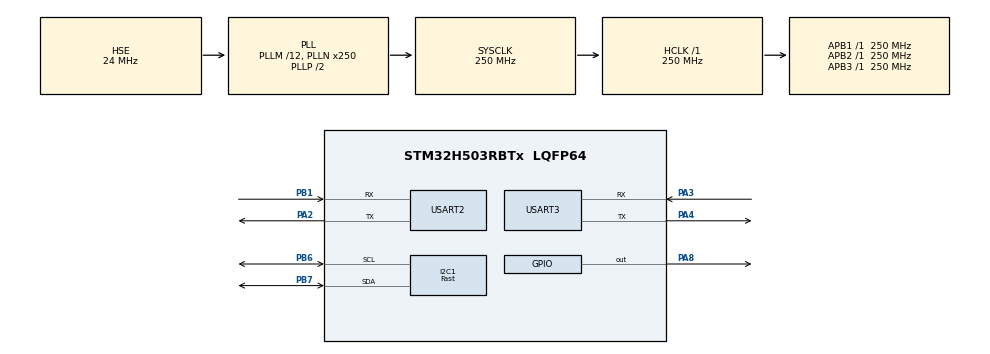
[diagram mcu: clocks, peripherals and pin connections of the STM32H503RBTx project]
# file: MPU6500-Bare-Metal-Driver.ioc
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BOOTPATH.BootPathName=LEGACY
BOOTPATH.UserSelectedBootPath=LEGACY
GPDMA1.DESTINC_GPDMACH1=DMA_DINC_INCREMENTED
GPDMA1.DIRECTION_GPDMACH0=DMA_MEMORY_TO_PERIPH
GPDMA1.IPHANDLE_GPDMACH0-SIMPLEREQUEST_GPDMACH0=__NULL
GPDMA1.IPHANDLE_GPDMACH1-SIMPLEREQUEST_GPDMACH1=__NULL
GPDMA1.REQUEST_GPDMACH0=GPDMA1_REQUEST_I2C1_TX
GPDMA1.REQUEST_GPDMACH1=GPDMA1_REQUEST_I2C1_RX
GPDMA1.SRCINC_GPDMACH0=DMA_SINC_INCREMENTED
I2C1.I2C_Speed_Mode=I2C_Fast
I2C1.Timing=0x10C043E5
I2C1.I2C_Speed_Mode=I2C_Fast
I2C1.Timing=0x10C043E5
Mcu.Family=STM32H5
Mcu.Name=STM32H503RBTx
Mcu.Package=LQFP64
NUCLEO-H503RB.VCP=false
NVIC.GPDMA1_Channel0_IRQn=true\:0\:0\:false\:false\:true\:true\:true\:true
NVIC.GPDMA1_Channel1_IRQn=true\:0\:0\:false\:false\:true\:false\:true\:true
NVIC.I2C1_ER_IRQn=true\:0\:0\:false\:false\:true\:true\:true\:true
NVIC.I2C1_EV_IRQn=true\:0\:0\:false\:false\:true\:true\:true\:true
NVIC.I2C1_ER_IRQn=true\:0\:0\:false\:false\:true\:true\:true\:true
NVIC.I2C1_EV_IRQn=true\:0\:0\:false\:false\:true\:true\:true\:true
NVIC.PriorityGroup=NVIC_PRIORITYGROUP_4
PA13(JTMS/SWDIO).GPIO_Label=T_SWDIO
PA13(JTMS/SWDIO).Signal=DEBUG_JTMS-SWDIO
PA14(JTCK/SWCLK).GPIO_Label=T_SWCLK
PA14(JTCK/SWCLK).Signal=DEBUG_JTCK-SWCLK
PA15(JTDI).GPIO_Label=T_JTDI
PA15(JTDI).Signal=DEBUG_JTDI
PA2.Mode=Asynchronous
PA2.Signal=USART2_TX
PA2.Mode=Asynchronous
PA2.Signal=USART2_TX
PA3.Mode=Asynchronous
PA3.Signal=USART3_RX
PA4.Mode=Asynchronous
PA4.Signal=USART3_TX
PA8.Signal=GPIO_Output
PB1.Mode=Asynchronous
PB1.Signal=USART2_RX
PB1.Mode=Asynchronous
PB1.Signal=USART2_RX
PB14.GPIO_Label=ARD_D1_TX
PB14.Signal=USART1_TX
PB15.GPIO_Label=ARD_D0_RX
PB15.Signal=USART1_RX
PB3(JTDO/TRACESWO).GPIO_Label=T_SWO
PB3(JTDO/TRACESWO).Signal=DEBUG_JTDO-SWO
PB6.Mode=I2C
PB6.Signal=I2C1_SCL
PB7.Mode=I2C
PB7.Signal=I2C1_SDA
PH0-OSC_IN(PH0).Mode=HSE-External-Oscillator
PH0-OSC_IN(PH0).Signal=RCC_OSC_IN
PH1-OSC_OUT(PH1).Mode=HSE-External-Oscillator
PH1-OSC_OUT(PH1).Signal=RCC_OSC_OUT
ProjectManager.HeapSize=0x200
ProjectManager.StackSize=0x400
ProjectManager.TargetToolchain=CMake
RCC.ADCFreq_Value=250000000
RCC.AHBFreq_Value=250000000
RCC.APB1Freq_Value=250000000
RCC.APB1TimFreq_Value=250000000
RCC.APB2Freq_Value=250000000
RCC.APB2TimFreq_Value=250000000
RCC.APB3Freq_Value=250000000
RCC.CSI_VALUE=4000000
RCC.CortexFreq_Value=250000000
RCC.EPOD_VALUE=24000000
RCC.HCLKFreq_Value=250000000
RCC.HSE_VALUE=24000000
RCC.HSI48_VALUE=48000000
RCC.HSIDiv=RCC_HSI_DIV1
RCC.HSI_VALUE=64000000
RCC.LSE_VALUE=32768
RCC.LSIRC_VALUE=32000
RCC.PLLM=12
RCC.PLLN=250
RCC.PLLSourceVirtual=RCC_PLL1_SOURCE_HSE
RCC.SYSCLKFreq_VALUE=250000000
RCC.SYSCLKSource=RCC_SYSCLKSOURCE_PLLCLK
RCC.USBFreq_Value=48000000
RCC.VCOOutputFreq_Value=500000000
USART2.VirtualMode-Asynchronous=VM_ASYNC
USART2.VirtualMode-Asynchronous=VM_ASYNC
USART3.VirtualMode-Asynchronous=VM_ASYNC
VP_BOOTPATH_VS_BOOTPATH.Mode=BP_Activate
VP_CORTEX_M33_NS_VS_Hclk.Mode=Hclk_Mode
VP_GPDMA1_VS_GPDMACH0.Mode=SIMPLEREQUEST_GPDMACH0
VP_GPDMA1_VS_GPDMACH1.Mode=SIMPLEREQUEST_GPDMACH1
VP_MEMORYMAP_VS_MEMORYMAP.Mode=CurAppReg
VP_NUCLEO-H503RB_VS_BSP_COMMON.Mode=COMMON
VP_PWR_VS_LPOM.Mode=PowerOptimisation
VP_PWR_VS_SECSignals.Mode=Security/Privilege
board=NUCLEO-H503RB

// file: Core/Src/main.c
/* USER CODE BEGIN Header */
/**
 ******************************************************************************
 * @file           : main.c
 * @brief          : Main program body
 ******************************************************************************
 * @attention
 *
 * Copyright (c) 2026 STMicroelectronics.
 * All rights reserved.
 *
 * This software is licensed under terms that can be found in the LICENSE file
 * in the root directory of this software component.
 * If no LICENSE file comes with this software, it is provided AS-IS.
 *
 ******************************************************************************
 */
/* USER CODE END Header */
#include "main.h"

/* USER CODE BEGIN Includes */
#include "mpu6500.h"
#include "stm32h503xx.h"
#include "stm32h5xx_hal.h"
#include "stm32h5xx_hal_def.h"
#include "stm32h5xx_hal_i2c.h"
#include "stm32h5xx_hal_uart.h"
#include <stdint.h>
#include <stdio.h>
#include <string.h>
#include <sys/_intsup.h>

/* USER CODE END Includes */

/* USER CODE BEGIN PTD */
typedef enum { IDLE, READ_GYRO, READ_ACCEL, DATA_READY } MPU6500_State_t;

/* USER CODE END PTD */

DMA_HandleTypeDef handle_GPDMA1_Channel1;

I2C_HandleTypeDef hi2c1;
DMA_HandleTypeDef handle_GPDMA1_Channel1;
DMA_HandleTypeDef handle_GPDMA1_Channel0;

UART_HandleTypeDef huart2;
UART_HandleTypeDef huart3;

/* USER CODE BEGIN PV */
static volatile uint8_t I2C1_RX_FLAG;
static volatile uint8_t I2C1_TX_FLAG;

// uint32_t Matches Hal_I2C_GetError() size
static volatile uint32_t I2C1_ERROR_FLAG;

volatile MPU6500_State_t MPU6500_current_state = IDLE;

/* USER CODE END PV */

void SystemClock_Config(void);
static void MX_GPIO_Init(void);
static void MX_GPDMA1_Init(void);
static void MX_I2C1_Init(void);
static void MX_USART2_UART_Init(void);
static void MX_USART3_UART_Init(void);

/* USER CODE BEGIN 0 */

/* I2C DMA Callbacks ---------------------------------------------------------
 * Called by the HAL from the DMA/I2C interrupt handlers when a memory
 * read/write transfer completes or errors. These set flags that the
 * main-loop state machine polls to know when data is ready.
 */

/** @brief I2C RX complete — signals that DMA read data is in the buffer. */
void HAL_I2C_MemRxCpltCallback(I2C_HandleTypeDef *hi2c) {
  if (hi2c->Instance == I2C1) {
    I2C1_RX_FLAG = 1;
  }
}

/** @brief I2C TX complete — signals that DMA write has finished. */
void HAL_I2C_MemTxCpltCallback(I2C_HandleTypeDef *hi2c) {
  if (hi2c->Instance == I2C1) {
    I2C1_TX_FLAG = 1;
  }
}

/** @brief I2C error — stores error code, sets flags to unblock waiters, aborts. */
void HAL_I2C_ErrorCallback(I2C_HandleTypeDef *hi2c) {
  I2C1_ERROR_FLAG = HAL_I2C_GetError(hi2c);
  I2C1_RX_FLAG = 1;
  I2C1_TX_FLAG = 1;
  HAL_I2C_Master_Abort_IT(hi2c, MPU6500_I2C_ADDR);
}

/* Platform I2C wrappers (non-blocking DMA) ----------------------------------
 * These are passed to the MPU6500 driver via MPU6500_Config. They start a DMA
 * transfer and return immediately. The flag is cleared BEFORE starting DMA to
 * prevent a race where the ISR fires before the flag is reset.
 */

/** @brief Non-blocking I2C register write via DMA. */
int8_t stm32_write_DMA(uint16_t dev_addr, uint16_t reg_addr, uint8_t *p_data,
                       uint16_t len) {
  I2C1_TX_FLAG = 0;
  I2C1_ERROR_FLAG = 0;
  if (HAL_I2C_Mem_Write_DMA(&hi2c1, dev_addr, reg_addr, I2C_MEMADD_SIZE_8BIT,
                            p_data, len) == HAL_OK) {
    return 0;
  } else {
    HAL_I2C_ErrorCallback(&hi2c1);
    return -1;
  }
}

/** @brief Non-blocking I2C register read via DMA. */
int8_t stm32_read_DMA(uint16_t dev_addr, uint16_t reg_addr, uint8_t *p_data,
                      uint16_t len) {
  I2C1_RX_FLAG = 0;
  I2C1_ERROR_FLAG = 0;
  if (HAL_I2C_Mem_Read_DMA(&hi2c1, dev_addr, reg_addr, I2C_MEMADD_SIZE_8BIT,
                           p_data, len) == HAL_OK) {
    return 0;
  } else {
    HAL_I2C_ErrorCallback(&hi2c1);
    return -1;
  }
}

/* USER CODE END 0 */

int main(void) {

  /* MCU Configuration--------------------------------------------------------*/

  /* Reset of all peripherals, Initializes the Flash interface and the Systick.
   */
  HAL_Init();

  /* Configure the system clock */
  SystemClock_Config();

  /* Initialize all configured peripherals */
  MX_GPIO_Init();
  MX_GPDMA1_Init();
  MX_I2C1_Init();
  MX_USART2_UART_Init();
  MX_USART3_UART_Init();

  /* USER CODE BEGIN 2 */

  /* Wire the platform DMA layer to the MPU6500 driver */
  MPU6500_Config config = {
      .write = stm32_write_DMA,
      .read = stm32_read_DMA,
      .delay_ms = HAL_Delay,
  };

  MPU6500_Init(&config);

  MPU6500_Gyro_Data Gyro_Data = {0};
  MPU6500_Accel_Data Accel_Data = {0};

  /* Persistent DMA target buffers — must outlive each transfer */
  static uint8_t gyro_raw[6];
  static uint8_t accel_raw[6];

  char buffer[200];

  int8_t gyro_config[3] = {0, 0, 0};

  MPU6500_SetAccelRange(&config, MPU6500_ACC_SET_16G);
  MPU6500_SetRotationRange(&config, MPU6500_Gyro_SET_2000);

  MPU6500_Gyro_Calibration(&config, gyro_config);

  /* USER CODE END 2 */

  /* Infinite loop */
  /* USER CODE BEGIN WHILE */
  while (1) {

    /*
     * Non-blocking state machine for continuous sensor reads:
     *   IDLE       -> start gyro DMA read
     *   READ_GYRO  -> wait for DMA flag, process gyro, start accel DMA read
     *   READ_ACCEL -> wait for DMA flag, process accel
     *   DATA_READY -> transmit results over UART, return to IDLE
     *
     * The CPU is free between state transitions for other work.
     */
    switch (MPU6500_current_state) {
    case IDLE:
      if (MPU6500_Read_Gyro_DMA(&config, gyro_raw) == 0) {
        MPU6500_current_state = READ_GYRO;
      }
      /* else: DMA start failed, stay IDLE and retry next loop */
      break;

    case READ_GYRO:
      if (I2C1_RX_FLAG == 1) {
        I2C1_RX_FLAG = 0;
        if (I2C1_ERROR_FLAG != 0) {
          MPU6500_current_state = IDLE;
          break;
        }
        MPU6500_Process_Gyro_DMA(&config, gyro_raw, &Gyro_Data);
        if (MPU6500_Read_Accel_DMA(&config, accel_raw) == 0) {
          MPU6500_current_state = READ_ACCEL;
        } else {
          MPU6500_current_state = IDLE;
        }
      }
      break;

    case READ_ACCEL:
      if (I2C1_RX_FLAG == 1) {
        I2C1_RX_FLAG = 0;
        if (I2C1_ERROR_FLAG != 0) {
          MPU6500_current_state = IDLE;
          break;
        }
        MPU6500_Process_Accel_DMA(&config, accel_raw, &Accel_Data);
        MPU6500_current_state = DATA_READY;
      }
      break;

    case DATA_READY:
      /* Demo/test blocking UART TX for simplicity. The implementation is up to the User. This is just a example.
       * The driver's job ends here (data is in Gyro_Data / Accel_Data).
       * Production code would use HAL_UART_Transmit_IT/DMA instead. */
      sprintf(buffer,
              "Gyro: X |%-4i|, Y|%-4i|, Z|%-4i| --- |  Accel: X |%7.4f|, Y "
              "|%7.4f|, Z |%7.4f| \r\n",
              Gyro_Data.Gyro_X, Gyro_Data.Gyro_Y, Gyro_Data.Gyro_Z,
              Accel_Data.Accel_X, Accel_Data.Accel_Y, Accel_Data.Accel_Z);

      HAL_UART_Transmit(&huart3, (uint8_t *)buffer, strlen(buffer), 100);
      MPU6500_current_state = IDLE;
      break;

    default:
      return -1;
    }

    /* CPU is free here for other non-blocking work */

    /* USER CODE END WHILE */

  }
}

void SystemClock_Config(void) {
  RCC_OscInitTypeDef RCC_OscInitStruct = {0};
  RCC_ClkInitTypeDef RCC_ClkInitStruct = {0};

  /** Configure the main internal regulator output voltage
   */
  __HAL_PWR_VOLTAGESCALING_CONFIG(PWR_REGULATOR_VOLTAGE_SCALE0);

  while (!__HAL_PWR_GET_FLAG(PWR_FLAG_VOSRDY)) {
  }

  /** Initializes the RCC Oscillators according to the specified parameters
   * in the RCC_OscInitTypeDef structure.
   */
  RCC_OscInitStruct.OscillatorType = RCC_OSCILLATORTYPE_HSE;
  RCC_OscInitStruct.HSEState = RCC_HSE_ON;
  RCC_OscInitStruct.PLL.PLLState = RCC_PLL_ON;
  RCC_OscInitStruct.PLL.PLLSource = RCC_PLL1_SOURCE_HSE;
  RCC_OscInitStruct.PLL.PLLM = 12;
  RCC_OscInitStruct.PLL.PLLN = 250;
  RCC_OscInitStruct.PLL.PLLP = 2;
  RCC_OscInitStruct.PLL.PLLQ = 2;
  RCC_OscInitStruct.PLL.PLLR = 2;
  RCC_OscInitStruct.PLL.PLLRGE = RCC_PLL1_VCIRANGE_1;
  RCC_OscInitStruct.PLL.PLLVCOSEL = RCC_PLL1_VCORANGE_WIDE;
  RCC_OscInitStruct.PLL.PLLFRACN = 0;
  if (HAL_RCC_OscConfig(&RCC_OscInitStruct) != HAL_OK) {
    Error_Handler();
  }

  /** Initializes the CPU, AHB and APB buses clocks
   */
  RCC_ClkInitStruct.ClockType = RCC_CLOCKTYPE_HCLK | RCC_CLOCKTYPE_SYSCLK |
                                RCC_CLOCKTYPE_PCLK1 | RCC_CLOCKTYPE_PCLK2 |
                                RCC_CLOCKTYPE_PCLK3;
  RCC_ClkInitStruct.SYSCLKSource = RCC_SYSCLKSOURCE_PLLCLK;
  RCC_ClkInitStruct.AHBCLKDivider = RCC_SYSCLK_DIV1;
  RCC_ClkInitStruct.APB1CLKDivider = RCC_HCLK_DIV1;
  RCC_ClkInitStruct.APB2CLKDivider = RCC_HCLK_DIV1;
  RCC_ClkInitStruct.APB3CLKDivider = RCC_HCLK_DIV1;

  if (HAL_RCC_ClockConfig(&RCC_ClkInitStruct, FLASH_LATENCY_5) != HAL_OK) {
    Error_Handler();
  }

  /** Configure the programming delay
   */
  __HAL_FLASH_SET_PROGRAM_DELAY(FLASH_PROGRAMMING_DELAY_2);
}

static void MX_GPDMA1_Init(void) {

  /* Peripheral clock enable */
  __HAL_RCC_GPDMA1_CLK_ENABLE();

  /* GPDMA1 interrupt Init */
  HAL_NVIC_SetPriority(GPDMA1_Channel0_IRQn, 0, 0);
  HAL_NVIC_EnableIRQ(GPDMA1_Channel0_IRQn);
  HAL_NVIC_SetPriority(GPDMA1_Channel1_IRQn, 0, 0);
  HAL_NVIC_EnableIRQ(GPDMA1_Channel1_IRQn);

}

static void MX_I2C1_Init(void) {

  hi2c1.Instance = I2C1;
  hi2c1.Init.Timing = 0x10C043E5;
  hi2c1.Init.OwnAddress1 = 0;
  hi2c1.Init.AddressingMode = I2C_ADDRESSINGMODE_7BIT;
  hi2c1.Init.DualAddressMode = I2C_DUALADDRESS_DISABLE;
  hi2c1.Init.OwnAddress2 = 0;
  hi2c1.Init.OwnAddress2Masks = I2C_OA2_NOMASK;
  hi2c1.Init.GeneralCallMode = I2C_GENERALCALL_DISABLE;
  hi2c1.Init.NoStretchMode = I2C_NOSTRETCH_DISABLE;
  if (HAL_I2C_Init(&hi2c1) != HAL_OK) {
    Error_Handler();
  }

  /** Configure Analogue filter
   */
  if (HAL_I2CEx_ConfigAnalogFilter(&hi2c1, I2C_ANALOGFILTER_ENABLE) != HAL_OK) {
    Error_Handler();
  }

  /** Configure Digital filter
   */
  if (HAL_I2CEx_ConfigDigitalFilter(&hi2c1, 0) != HAL_OK) {
    Error_Handler();
  }
}

static void MX_USART2_UART_Init(void) {

  huart2.Instance = USART2;
  huart2.Init.BaudRate = 115200;
  huart2.Init.WordLength = UART_WORDLENGTH_8B;
  huart2.Init.StopBits = UART_STOPBITS_1;
  huart2.Init.Parity = UART_PARITY_NONE;
  huart2.Init.Mode = UART_MODE_TX_RX;
  huart2.Init.HwFlowCtl = UART_HWCONTROL_NONE;
  huart2.Init.OverSampling = UART_OVERSAMPLING_16;
  huart2.Init.OneBitSampling = UART_ONE_BIT_SAMPLE_DISABLE;
  huart2.Init.ClockPrescaler = UART_PRESCALER_DIV1;
  huart2.AdvancedInit.AdvFeatureInit = UART_ADVFEATURE_NO_INIT;
  if (HAL_UART_Init(&huart2) != HAL_OK) {
    Error_Handler();
  }
  if (HAL_UARTEx_SetTxFifoThreshold(&huart2, UART_TXFIFO_THRESHOLD_1_8) !=
      HAL_OK) {
    Error_Handler();
  }
  if (HAL_UARTEx_SetRxFifoThreshold(&huart2, UART_RXFIFO_THRESHOLD_1_8) !=
      HAL_OK) {
    Error_Handler();
  }
  if (HAL_UARTEx_DisableFifoMode(&huart2) != HAL_OK) {
    Error_Handler();
  }
}

static void MX_USART3_UART_Init(void) {

  huart3.Instance = USART3;
  huart3.Init.BaudRate = 115200;
  huart3.Init.WordLength = UART_WORDLENGTH_8B;
  huart3.Init.StopBits = UART_STOPBITS_1;
  huart3.Init.Parity = UART_PARITY_NONE;
  huart3.Init.Mode = UART_MODE_TX_RX;
  huart3.Init.HwFlowCtl = UART_HWCONTROL_NONE;
  huart3.Init.OverSampling = UART_OVERSAMPLING_16;
  huart3.Init.OneBitSampling = UART_ONE_BIT_SAMPLE_DISABLE;
  huart3.Init.ClockPrescaler = UART_PRESCALER_DIV1;
  huart3.AdvancedInit.AdvFeatureInit = UART_ADVFEATURE_NO_INIT;
  if (HAL_UART_Init(&huart3) != HAL_OK) {
    Error_Handler();
  }
  if (HAL_UARTEx_SetTxFifoThreshold(&huart3, UART_TXFIFO_THRESHOLD_1_8) !=
      HAL_OK) {
    Error_Handler();
  }
  if (HAL_UARTEx_SetRxFifoThreshold(&huart3, UART_RXFIFO_THRESHOLD_1_8) !=
      HAL_OK) {
    Error_Handler();
  }
  if (HAL_UARTEx_DisableFifoMode(&huart3) != HAL_OK) {
    Error_Handler();
  }
}

static void MX_GPIO_Init(void) {
  GPIO_InitTypeDef GPIO_InitStruct = {0};

  /* GPIO Ports Clock Enable */
  __HAL_RCC_GPIOH_CLK_ENABLE();
  __HAL_RCC_GPIOA_CLK_ENABLE();
  __HAL_RCC_GPIOB_CLK_ENABLE();

  /*Configure GPIO pin Output Level */
  HAL_GPIO_WritePin(GPIOA, GPIO_PIN_8, GPIO_PIN_RESET);

  /*Configure GPIO pins : ARD_D1_TX_Pin ARD_D0_RX_Pin */
  GPIO_InitStruct.Pin = ARD_D1_TX_Pin | ARD_D0_RX_Pin;
  GPIO_InitStruct.Mode = GPIO_MODE_AF_PP;
  GPIO_InitStruct.Pull = GPIO_NOPULL;
  GPIO_InitStruct.Speed = GPIO_SPEED_FREQ_LOW;
  GPIO_InitStruct.Alternate = GPIO_AF4_USART1;
  HAL_GPIO_Init(GPIOB, &GPIO_InitStruct);

  /*Configure GPIO pin : PA8 */
  GPIO_InitStruct.Pin = GPIO_PIN_8;
  GPIO_InitStruct.Mode = GPIO_MODE_OUTPUT_PP;
  GPIO_InitStruct.Pull = GPIO_NOPULL;
  GPIO_InitStruct.Speed = GPIO_SPEED_FREQ_LOW;
  HAL_GPIO_Init(GPIOA, &GPIO_InitStruct);

}

void Error_Handler(void) {
  __disable_irq();
  while (1) {
  }
}
#ifdef USE_FULL_ASSERT
/**
 * @brief  Reports the name of the source file and the source line number
 *         where the assert_param error has occurred.
 * @param  file: pointer to the source file name
 * @param  line: assert_param error line source number
 * @retval None
 */
void assert_failed(uint8_t *file, uint32_t line) {
  /* USER CODE BEGIN 6 */
  /* User can add his own implementation to report the file name and line
     number, ex: printf("Wrong parameters value: file %s on line %d\r\n", file,
     line) */
  /* USER CODE END 6 */
}
#endif /* USE_FULL_ASSERT */
